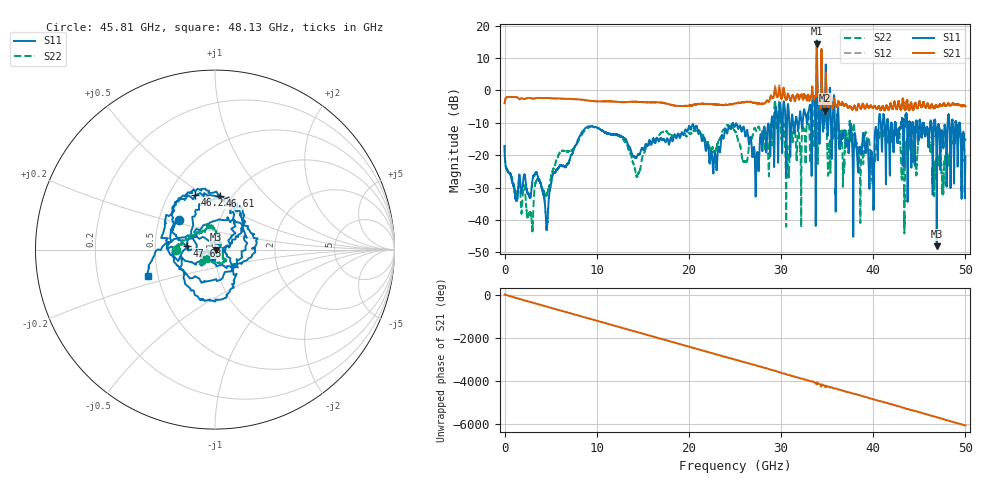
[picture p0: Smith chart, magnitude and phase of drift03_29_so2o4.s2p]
!Created with skrf (http://scikit-rf.org).
# Hz S RI R 50.0
!freq ReS11 ImS11 ReS21 ImS21 ReS12 ImS12 ReS22 ImS22
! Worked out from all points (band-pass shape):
!   10001 points, 300 kHz to 50 GHz, reference 50 ohm
!   highest |S21| = 14.42 dB at 33.88 GHz (marker M1); lowest = -6.2 dB at 34.79 GHz (marker M2)
!   |S21| within 3 dB of the highest: 33.86957 GHz to 33.88848 GHz (18.91 MHz wide, 0.0558 % of centre); 34.37772 GHz to 34.38933 GHz (11.6 MHz wide, 0.0337 % of centre)
!   lowest |S11| = -48.1 dB at 46.9 GHz (marker M3), VSWR 1.01, Z = 50.4 - j0.0301 ohm
!   |S11| at or under -10 dB: start of sweep to 28.94 GHz; 36.27 GHz to 40.61 GHz (4.34 GHz wide, 11.3 % of centre); 46.75 GHz to 48.08 GHz (1.329 GHz wide, 2.8 % of centre) (the widest 3 of 61)
!   |S22| runs from -44.2 to 10.9 dB; largest |S21 - S12| = 0.79
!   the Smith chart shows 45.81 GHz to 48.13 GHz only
!   S11 on the Smith chart (normalised r, x): 45.81 GHz: 0.64, +0.23; 46.22 GHz: 0.68, +0.46; 46.61 GHz: 0.88, +0.58; 47.63 GHz: 0.73, +0.03; 48.13 GHz: 0.44, -0.15
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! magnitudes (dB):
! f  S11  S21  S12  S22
! 300 kHz  -17.1  -4.0  -4.0  -17.0
! 2.82 GHz  -32.8  -2.4  -2.4  -38.4
! 4.565 GHz  -42.0  -2.3  -2.3  -32.2
! 8.335 GHz  -13.1  -2.8  -2.8  -13.9
! 14.44 GHz  -19.9  -3.5  -3.5  -26.3
! 16.67 GHz  -15.4  -3.7  -3.7  -14.3
! 25 GHz  -11.0  -4.0  -4.0  -12.5
! 27.39 GHz  -19.4  -4.1  -4.1  -12.4
! 29.6 GHz  -10.4  -2.0  -2.1  -11.7
! 30.7 GHz  -5.6  -1.4  -1.4  -17.2
! 33.34 GHz  -13.6  -0.4  -0.6  -7.2
! 33.88 GHz  15.4  14.4  14.1  10.9
! 34.79 GHz  -3.2  -6.2  -4.9  -8.6
! 39.81 GHz  -19.1  -5.0  -4.8  -23.7
! 41.67 GHz  -12.2  -6.0  -5.9  -15.1
! 45.81 GHz  -11.8  -4.7  -4.7  -13.4
! 46.22 GHz  -9.8  -5.4  -5.4  -18.1
! 46.61 GHz  -10.5  -5.5  -5.5  -28.8
! 46.9 GHz  -48.1  -4.9  -4.8  -22.2
! 47.63 GHz  -15.9  -4.1  -4.1  -26.6
! 48.13 GHz  -8.0  -4.1  -4.0  -22.5
! 50 GHz  -20.4  -4.9  -4.9  -15.2
